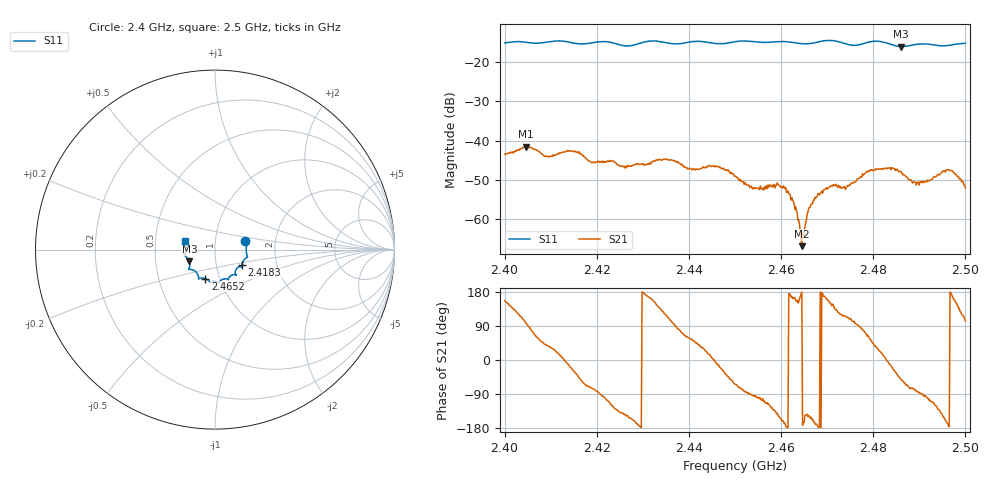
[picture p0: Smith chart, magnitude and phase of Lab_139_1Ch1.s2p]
# Hz S RI R 50
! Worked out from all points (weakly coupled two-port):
!   601 points, 2.4 GHz to 2.5 GHz, reference 50 ohm
!   highest |S21| = -41.59 dB at 2.4047 GHz (marker M1); lowest = -66.9 dB at 2.4645 GHz (marker M2)
!   lowest |S11| = -16.1 dB at 2.486 GHz (marker M3), VSWR 1.37, Z = 37.2 - j5.02 ohm
!   |S11| at or under -10 dB: start of sweep to end of sweep
!   S12 and S22 are empty: the file has one direction only
!   S11 on the Smith chart (normalised r, x): 2.4 GHz: 1.40, +0.14; 2.4183 GHz: 1.33, -0.24; 2.4652 GHz: 0.85, -0.28; 2.5 GHz: 0.71, +0.07
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2.4e9  0.1681 0.0472  -0.00612 0.00266  0 0  0 0
2.404667e9  0.177 0.0217  -0.000884 0.00828  0 0  0 0
2.409167e9  0.1767 -0.0276  0.00492 0.0039  0 0  0 0
2.416667e9  0.1555 -0.0681  0.00392 -0.00536  0 0  0 0
2.418333e9  0.1501 -0.0864  0.00192 -0.00512  0 0  0 0
2.426e9  0.1257 -0.1001  -0.00361 -0.00271  0 0  0 0
2.433333e9  0.1172 -0.1413  -0.00438 0.00355  0 0  0 0
2.446333e9  0.051 -0.1633  0.00449 -0.00109  0 0  0 0
2.45e9  0.0259 -0.1793  0.00155 -0.00313  0 0  0 0
2.454167e9  0.0131 -0.1808  -0.000245 -0.00251  0 0  0 0
2.461e9  -0.0295 -0.1795  -0.00252 -0.000303  0 0  0 0
2.463e9  -0.036 -0.1719  -0.00128 0.000365  0 0  0 0
2.4645e9  -0.0475 -0.1644  -0.000452 5.88e-06  0 0  0 0
2.465167e9  -0.0545 -0.1614  -0.00066 -0.000443  0 0  0 0
2.466667e9  -0.0709 -0.158  -0.00144 -0.000629  0 0  0 0
2.470833e9  -0.0913 -0.1642  -0.00225 0.00139  0 0  0 0
2.473667e9  -0.0935 -0.1456  -0.00119 0.00231  0 0  0 0
2.483333e9  -0.1416 -0.0967  0.00442 -0.000613  0 0  0 0
2.486e9  -0.1428 -0.0657  0.00261 -0.00312  0 0  0 0
2.4895e9  -0.1637 -0.0382  0.000292 -0.00292  0 0  0 0
2.496667e9  -0.1619 0.0228  -0.0041 5.91e-05  0 0  0 0
2.5e9  -0.1658 0.0471  -0.000558 0.00242  0 0  0 0
